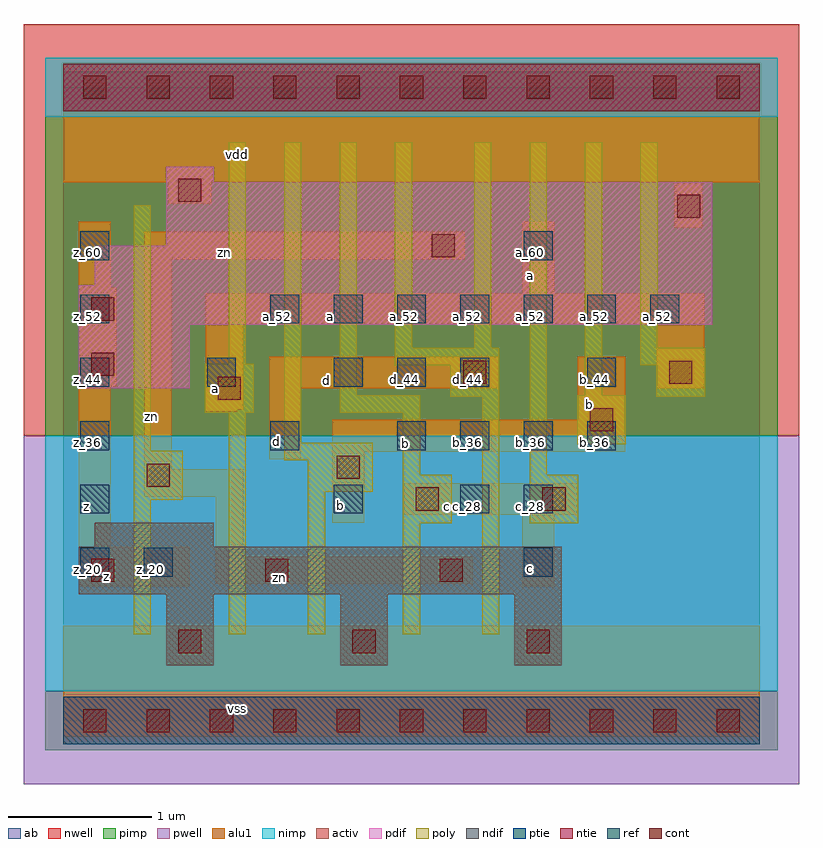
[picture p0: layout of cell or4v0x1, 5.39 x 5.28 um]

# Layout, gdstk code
import gdstk
lib = gdstk.Library(unit=1e-6, precision=2.5e-09)
def R(c, l, rs):  # rectangles x0, y0, x1, y1
    for r in rs: c.add(gdstk.rectangle(r[:2], r[2:], *l))
def A(c, l, x, y, w, h, nx, ny, dx, dy):  # array of equal rectangles
    R(c, l, [(x+i*dx, y+j*dy, x+i*dx+w, y+j*dy+h) for i in range(nx) for j in range(ny)])
ndif = (3, 0)
pdif = (4, 0)
ntie = (5, 0)
ptie = (6, 0)
ref = (24, 0)
cont = (25, 0)
pwell = (41, 0)
nwell = (42, 0)
activ = (43, 0)
pimp = (44, 0)
nimp = (45, 0)
poly = (46, 0)
alu1 = (49, 0)
ab = (63, 0)

or4v0x1 = lib.new_cell('or4v0x1')
A(or4v0x1, ndif, 0.715, 0.385, 0.33, 0.495, 3, 1, 1.21, 0)
R(or4v0x1, ndif, [(0.11,0.88,3.465,1.21), (0.22,1.21,1.045,1.375)])
R(or4v0x1, pdif, [(0.11,2.31,0.88,2.75), (0.11,2.75,4.51,3.025), (0.22,3.025,4.51,3.3), (0.715,3.3,4.51,3.74), (0.715,3.74,1.045,3.85)])
R(or4v0x1, ntie, [(0,4.235,4.84,4.565)])
R(or4v0x1, ptie, [(0,-0.165,4.84,0.165)])
A(or4v0x1, ref, 0.12, 1, 0.2, 0.2, 1, 3, 0, 0.44)
A(or4v0x1, ref, 2.32, 1.88, 0.2, 0.2, 4, 1, 0.44, 0)
A(or4v0x1, ref, 0.12, 2.32, 0.2, 0.2, 3, 1, 0.88, 0)
A(or4v0x1, ref, 1.44, 2.76, 0.2, 0.2, 7, 1, 0.44, 0)
R(or4v0x1, ref, [(0.56,1,0.76,1.2), (3.2,1,3.4,1.2), (1.88,1.44,2.08,1.64), (2.76,1.44,2.96,1.64), (3.2,1.44,3.4,1.64), (1.44,1.88,1.64,2.08), (2.32,2.32,2.52,2.52), (2.76,2.32,2.96,2.52), (3.64,2.32,3.84,2.52), (0.12,2.76,0.32,2.96), (0.12,3.2,0.32,3.4), (3.2,3.2,3.4,3.4)])
A(or4v0x1, cont, 0.14, -0.08, 0.16, 0.16, 11, 2, 0.44, 4.4)
A(or4v0x1, cont, 0.8, 0.47, 0.16, 0.16, 3, 1, 1.21, 0)
A(or4v0x1, cont, 0.195, 0.965, 0.16, 0.16, 3, 1, 1.21, 0)
R(or4v0x1, cont, [(2.45,1.46,2.61,1.62), (3.33,1.46,3.49,1.62), (0.58,1.625,0.74,1.785), (1.9,1.68,2.06,1.84), (3.66,2.01,3.82,2.17), (1.075,2.23,1.235,2.39), (2.78,2.34,2.94,2.5), (4.21,2.34,4.37,2.5), (0.195,2.395,0.355,2.555), (0.195,2.78,0.355,2.94), (2.56,3.22,2.72,3.38), (4.265,3.495,4.425,3.655), (0.8,3.605,0.96,3.765)])
R(or4v0x1, pwell, [(-0.275,-0.44,5.115,1.98)])
R(or4v0x1, nwell, [(-0.275,1.98,5.115,4.84)])
A(or4v0x1, activ, 0.715, 0.385, 0.33, 0.495, 3, 1, 1.21, 0)
R(or4v0x1, activ, [(0,-0.165,4.84,0.165), (0.11,0.88,3.465,1.21), (0.22,1.21,1.045,1.375), (0.11,2.31,0.88,2.75), (0.11,2.75,4.51,3.025), (0.22,3.025,4.51,3.3), (0.715,3.3,4.51,3.74), (0.715,3.74,1.045,3.85), (0,4.235,4.84,4.565)])
R(or4v0x1, pimp, [(-0.125,-0.205,4.965,0.205), (-0.125,1.98,4.965,4.195)])
R(or4v0x1, nimp, [(-0.125,0.205,4.965,1.98), (-0.125,4.195,4.965,4.605)])
R(or4v0x1, poly, [(0.49,0.6,0.61,1.535), (1.15,0.6,1.27,2.14), (1.7,0.6,1.82,1.59), (2.36,0.6,2.48,1.37), (2.91,0.6,3.03,2.25), (2.36,1.37,2.7,1.71), (3.24,1.37,3.58,1.71), (0.49,1.535,0.83,1.875), (1.7,1.59,2.15,1.81), (2.36,1.71,2.48,2.14), (3.24,1.71,3.36,4.02), (1.535,1.81,2.15,1.93), (0.49,1.875,0.61,3.58), (3.57,1.92,3.91,2.26), (1.535,1.93,1.655,4.02), (0.985,2.14,1.325,2.48), (1.92,2.14,2.48,2.26), (2.69,2.25,3.03,2.47), (4.12,2.25,4.46,2.47), (1.92,2.26,2.04,4.02), (3.625,2.26,3.745,4.02), (2.305,2.47,3.03,2.59), (4.01,2.47,4.46,2.59), (1.15,2.48,1.27,4.02), (2.305,2.59,2.425,4.02), (2.855,2.59,2.975,4.02), (4.01,2.59,4.13,4.02)])
R(or4v0x1, alu1, [(0,-0.11,4.84,0.66), (0.11,0.935,0.88,1.21), (3.19,0.935,3.41,1.43), (1.06,0.95,2.845,1.14), (1.06,1.14,1.25,1.555), (0.11,1.21,0.33,2.325), (1.87,1.375,2.09,1.87), (2.365,1.43,3.575,1.65), (0.565,1.555,1.25,1.745), (0.565,1.745,0.755,3.205), (1.43,1.815,1.65,2.31), (1.87,1.87,3.905,2.09), (3.575,2.09,3.905,2.53), (0.99,2.145,1.21,2.16), (0.99,2.16,1.25,2.75), (1.43,2.31,3.025,2.53), (4.125,2.31,4.455,2.75), (0.11,2.325,0.37,3.01), (0.99,2.75,4.455,2.97), (3.19,2.97,3.41,3.465), (0.11,3.01,0.33,3.465), (0.565,3.205,2.79,3.395), (4.25,3.425,4.44,3.74), (0.73,3.59,1.03,3.74), (0,3.74,4.84,4.51)])
R(or4v0x1, ab, [(0,0,4.84,4.4)])
or4v0x1.add(gdstk.Label('vss', (1.21,0.0825), layer=49, texttype=0))
or4v0x1.add(gdstk.Label('c', (3.245,1.0575), layer=49, texttype=0))
or4v0x1.add(gdstk.Label('zn', (1.505,0.9975), layer=49, texttype=0))
or4v0x1.add(gdstk.Label('c', (2.6675,1.485), layer=49, texttype=0))
or4v0x1.add(gdstk.Label('b', (1.925,1.4975), layer=49, texttype=0))
or4v0x1.add(gdstk.Label('z', (0.3025,1.0025), layer=49, texttype=0))
or4v0x1.add(gdstk.Label('b', (2.3775,1.925), layer=49, texttype=0))
or4v0x1.add(gdstk.Label('b', (3.6575,2.2), layer=49, texttype=0))
or4v0x1.add(gdstk.Label('d', (1.485,1.9375), layer=49, texttype=0))
or4v0x1.add(gdstk.Label('d', (1.8275,2.365), layer=49, texttype=0))
or4v0x1.add(gdstk.Label('a', (1.055,2.3075), layer=49, texttype=0))
or4v0x1.add(gdstk.Label('a', (1.855,2.805), layer=49, texttype=0))
or4v0x1.add(gdstk.Label('a', (3.245,3.0925), layer=49, texttype=0))
or4v0x1.add(gdstk.Label('zn', (0.6125,2.11), layer=49, texttype=0))
or4v0x1.add(gdstk.Label('z', (0.165,1.4875), layer=49, texttype=0))
or4v0x1.add(gdstk.Label('zn', (1.12,3.2525), layer=49, texttype=0))
or4v0x1.add(gdstk.Label('vdd', (1.21,3.9325), layer=49, texttype=0))
or4v0x1.add(gdstk.Label('z_20', (0.61,1.05), layer=24, texttype=0))
or4v0x1.add(gdstk.Label('a_44', (1.05,2.37), layer=24, texttype=0))
or4v0x1.add(gdstk.Label('d_36', (1.49,1.93), layer=24, texttype=0))
or4v0x1.add(gdstk.Label('a_52', (1.49,2.81), layer=24, texttype=0))
or4v0x1.add(gdstk.Label('b_28', (1.93,1.49), layer=24, texttype=0))
or4v0x1.add(gdstk.Label('d_44', (1.93,2.37), layer=24, texttype=0))
or4v0x1.add(gdstk.Label('a_52', (1.93,2.81), layer=24, texttype=0))
or4v0x1.add(gdstk.Label('z_20', (0.17,1.05), layer=24, texttype=0))
or4v0x1.add(gdstk.Label('z_28', (0.17,1.49), layer=24, texttype=0))
or4v0x1.add(gdstk.Label('z_36', (0.17,1.93), layer=24, texttype=0))
or4v0x1.add(gdstk.Label('z_44', (0.17,2.37), layer=24, texttype=0))
or4v0x1.add(gdstk.Label('z_52', (0.17,2.81), layer=24, texttype=0))
or4v0x1.add(gdstk.Label('z_60', (0.17,3.25), layer=24, texttype=0))
or4v0x1.add(gdstk.Label('b_36', (2.37,1.93), layer=24, texttype=0))
or4v0x1.add(gdstk.Label('d_44', (2.37,2.37), layer=24, texttype=0))
or4v0x1.add(gdstk.Label('a_52', (2.37,2.81), layer=24, texttype=0))
or4v0x1.add(gdstk.Label('c_28', (2.81,1.49), layer=24, texttype=0))
or4v0x1.add(gdstk.Label('b_36', (2.81,1.93), layer=24, texttype=0))
or4v0x1.add(gdstk.Label('d_44', (2.81,2.37), layer=24, texttype=0))
or4v0x1.add(gdstk.Label('a_52', (2.81,2.81), layer=24, texttype=0))
or4v0x1.add(gdstk.Label('c_20', (3.25,1.05), layer=24, texttype=0))
or4v0x1.add(gdstk.Label('c_28', (3.25,1.49), layer=24, texttype=0))
or4v0x1.add(gdstk.Label('b_36', (3.25,1.93), layer=24, texttype=0))
or4v0x1.add(gdstk.Label('a_52', (3.25,2.81), layer=24, texttype=0))
or4v0x1.add(gdstk.Label('a_60', (3.25,3.25), layer=24, texttype=0))
or4v0x1.add(gdstk.Label('b_36', (3.69,1.93), layer=24, texttype=0))
or4v0x1.add(gdstk.Label('b_44', (3.69,2.37), layer=24, texttype=0))
or4v0x1.add(gdstk.Label('a_52', (3.69,2.81), layer=24, texttype=0))
or4v0x1.add(gdstk.Label('a_52', (4.13,2.81), layer=24, texttype=0))

lib.write_gds('or4v0x1.gds')
